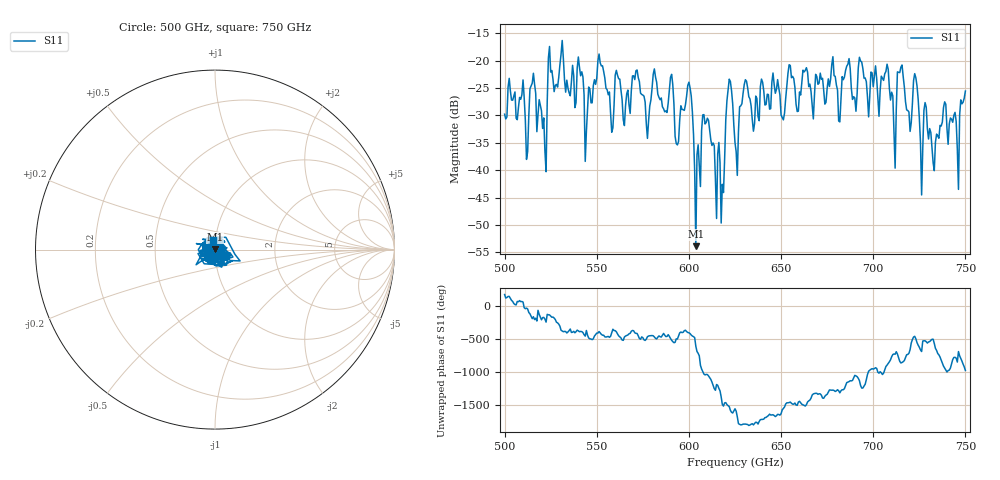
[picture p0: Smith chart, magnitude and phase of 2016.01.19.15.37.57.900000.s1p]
!Created with skrf (http://scikit-rf.org).
# GHz S RI R 50.0
!freq ReS11 ImS11
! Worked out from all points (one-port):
!   401 points, 500 GHz to 750 GHz, reference 50 ohm
!   lowest |S11| = -53.9 dB at 603.8 GHz (marker M1), VSWR 1.00, Z = 49.9 + j0.196 ohm
!   |S11| at or under -10 dB: start of sweep to end of sweep
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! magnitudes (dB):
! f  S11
! 500 GHz  -29.8
! 511.9 GHz  -38.0
! 515 GHz  -24.1
! 521.2 GHz  -30.4
! 524.4 GHz  -17.4
! 531.2 GHz  -16.3
! 544.4 GHz  -32.9
! 551.9 GHz  -20.4
! 558.1 GHz  -33.1
! 562.5 GHz  -23.4
! 590.6 GHz  -22.5
! 593.8 GHz  -35.4
! 600 GHz  -23.9
! 603.8 GHz  -53.9
! 608.8 GHz  -31.6
! 618.1 GHz  -42.6
! 621.9 GHz  -23.4
! 625 GHz  -35.0
! 630.6 GHz  -23.5
! 656.2 GHz  -22.9
! 687.5 GHz  -21.4
! 711.2 GHz  -33.1
! 714.4 GHz  -22.2
! 718.8 GHz  -29.1
! 723.1 GHz  -23.1
! 725.6 GHz  -34.9
! 733.1 GHz  -40.1
! 750 GHz  -25.5
